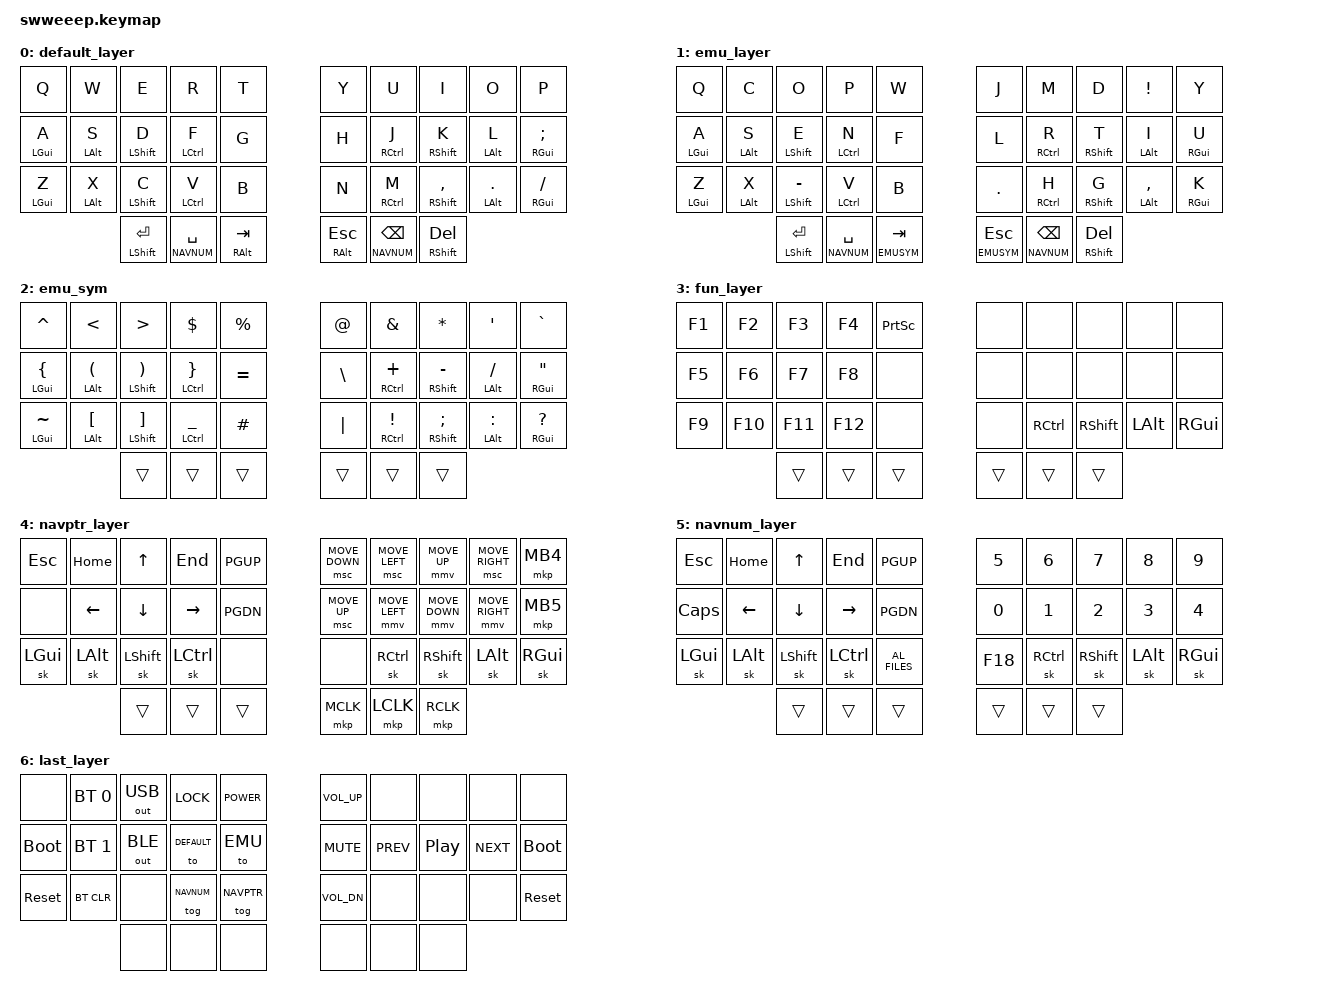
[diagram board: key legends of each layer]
/* Copyright (c) 2020 The ZMK Contributors
 *
 * SPDX-License-Identifier: MIT
 */

#define ZMK_MOUSE_DEFAULT_MOVE_VAL 1000  // 600
#define ZMK_MOUSE_DEFAULT_SCRL_VAL 5    // 10

#include <behaviors.dtsi>
#include <dt-bindings/zmk/keys.h>
#include <dt-bindings/zmk/bt.h>
#include <dt-bindings/zmk/outputs.h>
#include <dt-bindings/zmk/mouse.h>
        &mmv {
                acceleration-exponent = <1>;  // 1
                time-to-max-speed-ms = <300>; // 300
                delay-ms = <0>;
                trigger-period-ms = <8>;      // 16
        };
        &msc {
                acceleration-exponent = <1>;  // 0
                time-to-max-speed-ms = <1000>;  // 300
                delay-ms = <0>;
                trigger-period-ms = <8>;      // 16
        };

#define DEFAULT 0
// #define NUM 1
// #define NAV 2
#define EMU 1
#define EMUSYM 2
#define FUN 3
#define NAVPTR 4
#define NAVNUM 5
#define LAST 6

/ {
    behaviors {
        lth: layer_tap_hold {
            compatible = "zmk,behavior-hold-tap";
            #binding-cells = <2>;
            flavor = "tap-preferred";
            tapping-term-ms = <250>;
            quick-tap-ms = <200>; // for auto-repeat
            require-prior-idle-ms = <100>; // implies auto-repeat
            bindings = <&mo>, <&kp>;
        };
        mth: mod_tap_hold {
            compatible = "zmk,behavior-hold-tap";
            #binding-cells = <2>;
            flavor = "tap-preferred";
            tapping-term-ms = <250>;
            quick-tap-ms = <200>; // for auto-repeat
            require-prior-idle-ms = <100>; // implies auto-repeat
            bindings = <&kp>, <&kp>;
        };
    };

    combos {
        compatible = "zmk,combos";
        combo_llast {
            timeout-ms = <50>;
            key-positions = <30 31 32>;
            bindings = <&sl LAST>;
        };
        combo_rlast {
            timeout-ms = <50>;
            key-positions = <33 34 35>;
            bindings = <&sl LAST>;
        };
        combo_pointer {
            timeout-ms = <50>;
            key-positions = <31 32>;
            bindings = <&mo NAVPTR>;
        };
        combo_fun {
            timeout-ms = <50>;
            key-positions = <33 34>;
            bindings = <&mo FUN>;
        };
        // combo_lctl {
        //     timeout-ms = <50>;
        //     key-positions = <30 31>;
        //     bindings = <&sk LCTL>;
        // };
        // combo_rctl {
        //     timeout-ms = <50>;
        //     key-positions = <34 35>;
        //     bindings = <&sk RCTL>;
        // };
     //    combo_ctl {
     //        timeout-ms = <100>;
     //        key-positions = <30 35>;
     //        bindings = <&sk LCTL>;
     //    };
        // combo_lnum {        // combo_lctl {
        //     timeout-ms = <50>;
        //     key-positions = <30 31>;
        //     bindings = <&sk LCTL>;
        // };

        //     timeout-ms = <50>;
        //     key-positions = <31 32>;
        //     bindings = <&sl NUM>;
        // };
        // combo_rnum {
        //     timeout-ms = <50>;
        //     key-positions = <33 34>;
        //     bindings = <&sl NUM>;
        // };
        // combo_num {
        //     timeout-ms = <100>;
        //     key-positions = <32 33>;
        //     bindings = <&sl NUM>;
        // };
     //    combo_lgui {
     //        timeout-ms = <50>;
     //        key-positions = <30 32>;
     //        bindings = <&sk LGUI>;
     //    };
     //    combo_rgui {
     //        timeout-ms = <50>;
     //        key-positions = <33 35>;
     //        bindings = <&sk RGUI>;
     //    };
       
    };

        keymap {
                compatible = "zmk,keymap";

                default_layer {
                        bindings = <
// ╭─────────────┬─────────────┬─────────────┬─────────────┬─────────────╮   ╭─────────────┬─────────────┬─────────────┬─────────────┬─────────────╮
     &kp Q         &kp W         &kp E         &kp R         &kp T             &kp Y        &kp U         &kp I         &kp O         &kp P    
// ├─────────────┼─────────────┼─────────────┼─────────────┼─────────────┤   ├─────────────┼─────────────┼─────────────┼─────────────┼─────────────┤
     &mth LGUI A   &mth LALT S   &mth LSHIFT D &mth LCTL F   &kp G             &kp H        &mth RCTL J   &mth RSHIFT K &mth LALT L   &mth RGUI SEMI
// ├─────────────┼─────────────┼─────────────┼─────────────┼─────────────┤   ├─────────────┼─────────────┼─────────────┼─────────────┼─────────────┤
     &mth LGUI Z   &mth LALT X   &mth LSHIFT C &mth LCTL V   &kp B             &kp N        &mth RCTL M   &mth RSHIFT COMMA  &mth LALT DOT &mth RGUI FSLH
// ╰─────────────┴─────────────┼─────────────┼─────────────┼─────────────┤   ├─────────────┼─────────────┼─────────────┼─────────────┴─────────────╯
                               &mt LSHIFT RET &lth NAVNUM SPACE &mt RALT TAB   &mt RALT ESC &lth NAVNUM BSPC   &mt RSHIFT DEL
//                             ╰─────────────┴─────────────┴─────────────╯   ╰─────────────┴─────────────┴─────────────╯
                        >;
                };

                emu_layer {
                        bindings = <
// ╭─────────────┬─────────────┬─────────────┬─────────────┬─────────────╮   ╭─────────────┬─────────────┬─────────────┬─────────────┬─────────────╮
     &kp Q         &kp C         &kp O         &kp P         &kp W             &kp J        &kp M         &kp D         &kp EXCL     &kp Y    
// ├─────────────┼─────────────┼─────────────┼─────────────┼─────────────┤   ├─────────────┼─────────────┼─────────────┼─────────────┼─────────────┤
     &mth LGUI A   &mth LALT S   &mth LSHIFT E &mth LCTL N   &kp F             &kp L        &mth RCTL R   &mth RSHIFT T &mth LALT I   &mth RGUI U
// ├─────────────┼─────────────┼─────────────┼─────────────┼─────────────┤   ├─────────────┼─────────────┼─────────────┼─────────────┼─────────────┤
     &mth LGUI Z   &mth LALT X   &mth LSHIFT MINUS &mth LCTL V   &kp B         &kp DOT        &mth RCTL H   &mth RSHIFT G  &mth LALT COMMA &mth RGUI K
// ╰─────────────┴─────────────┼─────────────┼─────────────┼─────────────┤   ├─────────────┼─────────────┼─────────────┼─────────────┴─────────────╯
                               &mt LSHIFT RET &lth NAVNUM SPACE &lt EMUSYM TAB   &lt EMUSYM ESC &lth NAVNUM BSPC   &mt RSHIFT DEL
//                             ╰─────────────┴─────────────┴─────────────╯   ╰─────────────┴─────────────┴─────────────╯
                        >;
                };

                emu_sym {
                        bindings = <
// ╭─────────────┬─────────────┬─────────────┬─────────────┬─────────────╮   ╭─────────────┬─────────────┬─────────────┬─────────────┬─────────────╮
     &kp CARET     &kp LT        &kp GT        &kp DLLR      &kp PRCNT         &kp AT        &kp AMPS      &kp STAR      &kp SQT       &kp GRAVE    
// ├─────────────┼─────────────┼─────────────┼─────────────┼─────────────┤   ├─────────────┼─────────────┼─────────────┼─────────────┼─────────────┤
   &mth LGUI LBRC  &mth LALT LPAR &mth LSHIFT RPAR &mth LCTL RBRC  &kp EQUAL  &kp BSLH   &mth RCTL PLUS &mth RSHIFT MINUS &mth LALT FSLH &mth RGUI DQT
// ├─────────────┼─────────────┼─────────────┼─────────────┼─────────────┤   ├─────────────┼─────────────┼─────────────┼─────────────┼─────────────┤
   &mth LGUI TILDE &mth LALT LBKT &mth LSHIFT RBKT &mth LCTL UNDER &kp HASH    &kp PIPE  &mth RCTL EXCL   &mth RSHIFT SEMI  &mth LALT COLON &mth RGUI QMARK 
// ╰─────────────┴─────────────┼─────────────┼─────────────┼─────────────┤   ├─────────────┼─────────────┼─────────────┼─────────────┴─────────────╯
                                  &trans        &trans        &trans            &trans        &trans        &trans
//                             ╰─────────────┴─────────────┴─────────────╯   ╰─────────────┴─────────────┴─────────────╯
                        >;
                };

               fun_layer {
                        bindings = <
// ╭─────────────┬─────────────┬─────────────┬─────────────┬─────────────╮   ╭─────────────┬─────────────┬─────────────┬─────────────┬─────────────╮
     &kp F1        &kp F2        &kp F3        &kp F4        &kp PSCRN         &none         &none         &none         &none         &none  
// ├─────────────┼─────────────┼─────────────┼─────────────┼─────────────┤   ├─────────────┼─────────────┼─────────────┼─────────────┼─────────────┤
     &kp F5        &kp F6        &kp F7        &kp F8        &none             &none         &none         &none         &none         &none  
// ├─────────────┼─────────────┼─────────────┼─────────────┼─────────────┤   ├─────────────┼─────────────┼─────────────┼─────────────┼─────────────┤
     &kp F9        &kp F10       &kp F11       &kp F12       &none             &none         &kp RCTL      &kp RSHIFT    &kp LALT      &kp RGUI   
// ╰─────────────┴─────────────┼─────────────┼─────────────┼─────────────┤   ├─────────────┼─────────────┼─────────────┼─────────────┴─────────────╯
                                  &trans       &trans        &trans            &trans        &trans        &trans
//                             ╰─────────────┴─────────────┴─────────────╯   ╰─────────────┴─────────────┴─────────────╯
                        >;
                };

               navptr_layer {
                        bindings = <
// ╭─────────────┬─────────────┬─────────────┬─────────────┬─────────────╮   ╭─────────────┬─────────────┬─────────────┬─────────────┬─────────────
     &kp ESC       &kp HOME      &kp UP        &kp END       &kp PGUP          &msc MOVE_DOWN &msc MOVE_LEFT &mmv MOVE_UP &msc MOVE_RIGHT &mkp MB4
// ├─────────────┼─────────────┼─────────────┼─────────────┼─────────────┤   ├─────────────┼─────────────┼─────────────┼─────────────┼─────────────┤
     &none      &kp LEFT      &kp DOWN      &kp RIGHT     &kp PGDN          &msc MOVE_UP &mmv MOVE_LEFT &mmv MOVE_DOWN &mmv MOVE_RIGHT &mkp MB5
// ├─────────────┼─────────────┼─────────────┼─────────────┼─────────────┤   ├─────────────┼─────────────┼─────────────┼─────────────┼─────────────┤
     &sk LGUI      &sk LALT      &sk LSHFT     &sk LCTL      &none             &none         &sk RCTL      &sk RSHIFT    &sk LALT       &sk RGUI
// ╰─────────────┴─────────────┼─────────────┼─────────────┼─────────────┤   ├─────────────┼─────────────┼─────────────┼─────────────┴─────────────╯
                                  &trans       &trans        &trans            &mkp MCLK     &mkp LCLK     &mkp RCLK
//                             ╰─────────────┴─────────────┴─────────────╯   ╰─────────────┴─────────────┴─────────────╯
                        >;
                };


               navnum_layer {
                        bindings = <
// ╭─────────────┬─────────────┬─────────────┬─────────────┬─────────────╮   ╭─────────────┬─────────────┬─────────────┬─────────────┬─────────────╮
     &kp ESC       &kp HOME      &kp UP        &kp END       &kp PGUP          &kp N5        &kp N6        &kp N7        &kp N8        &kp N9
// ├─────────────┼─────────────┼─────────────┼─────────────┼─────────────┤   ├─────────────┼─────────────┼─────────────┼─────────────┼─────────────┤
     &kp CAPS      &kp LEFT      &kp DOWN      &kp RIGHT     &kp PGDN          &kp N0        &kp N1        &kp N2        &kp N3        &kp N4     
// ├─────────────┼─────────────┼─────────────┼─────────────┼─────────────┤   ├─────────────┼─────────────┼─────────────┼─────────────┼─────────────┤
     &sk LGUI      &sk LALT      &sk LSHFT     &sk LCTL      &kp C_AL_FILES    &kp F18       &sk RCTL      &sk RSHIFT    &sk LALT      &sk RGUI
// ╰─────────────┴─────────────┼─────────────┼─────────────┼─────────────┤   ├─────────────┼─────────────┼─────────────┼─────────────┴─────────────╯
                                 &trans        &trans        &trans            &trans        &trans        &trans  
//                             ╰─────────────┴─────────────┴─────────────╯   ╰─────────────┴─────────────┴─────────────╯
                        >;
                };

                last_layer {
                        bindings = <
// ╭─────────────┬─────────────┬─────────────┬─────────────┬─────────────╮   ╭─────────────┬─────────────┬─────────────┬─────────────┬─────────────╮
     &none       &bt BT_SEL 0  &out OUT_USB   &kp K_LOCK    &kp K_POWER        &kp C_VOL_UP  &none        &none        &none       &none
// ├─────────────┼─────────────┼─────────────┼─────────────┼─────────────┤   ├─────────────┼─────────────┼─────────────┼─────────────┼─────────────┤
     &bootloader  &bt BT_SEL 1  &out OUT_BLE   &to DEFAULT        &to EMU             &kp K_MUTE    &kp C_PREV    &kp C_PP      &kp C_NEXT   &bootloader
// ├─────────────┼─────────────┼─────────────┼─────────────┼─────────────┤   ├─────────────┼─────────────┼─────────────┼─────────────┼─────────────┤
     &sys_reset   &bt BT_CLR    &none         &tog NAVNUM   &tog NAVPTR        &kp C_VOL_DN  &none        &none        &none       &sys_reset
// ╰─────────────┴─────────────┼─────────────┼─────────────┼─────────────┤   ├─────────────┼─────────────┼─────────────┼─────────────┴─────────────╯
                                    &none        &none        &none          &none        &none        &none
//                             ╰─────────────┴─────────────┴─────────────╯   ╰─────────────┴─────────────┴─────────────╯
                        >;
                };
        };
};
